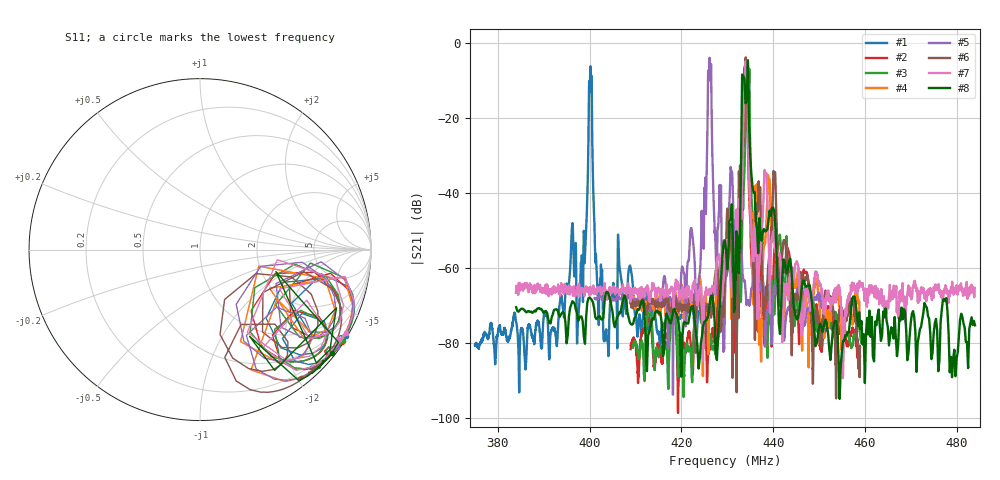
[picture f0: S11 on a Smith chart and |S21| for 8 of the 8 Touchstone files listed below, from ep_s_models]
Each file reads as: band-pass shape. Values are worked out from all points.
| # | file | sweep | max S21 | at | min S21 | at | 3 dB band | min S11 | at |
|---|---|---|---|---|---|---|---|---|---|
| 1 | B3742_WB.s2p | 375 MHz to 425 MHz | -6.18 dB | 400.2 MHz | -93.2 dB | 384.6 MHz | 400.1 MHz-400.2 MHz | -5.6 dB | 400.2 MHz |
| 2 | B3743_WB.s2p | 408.9 MHz to 458.9 MHz | -5.03 dB | 434 MHz | -98.7 dB | 419.3 MHz | 433.9 MHz-434 MHz | -6.7 dB | 434 MHz |
| 3 | B3748_WB.s2p | 409.4 MHz to 459.4 MHz | -4.53 dB | 434.5 MHz | -94.5 dB | 420.5 MHz | 434.4 MHz-434.5 MHz | -8.2 dB | 434.5 MHz |
| 4 | B3760_WB_UN.s2p | 408.9 MHz to 458.9 MHz | -3.76 dB | 434 MHz | -88.8 dB | 424.7 MHz | 433.9 MHz-434 MHz | -8.9 dB | 434 MHz |
| 5 | B3770_WB.s2p | 401.1 MHz to 451.1 MHz | -3.90 dB | 426.1 MHz | -93.8 dB | 418.1 MHz | 426.1 MHz-426.2 MHz | -8.7 dB | 426.1 MHz |
| 6 | B3774_WB.s2p | 408.9 MHz to 458.9 MHz | -3.90 dB | 434 MHz | -94.8 dB | 453.7 MHz | 433.9 MHz-434.1 MHz | -9.8 dB | 434 MHz |
| 7 | B3780_WB.s2p | 383.9 MHz to 483.9 MHz | -4.91 dB | 434 MHz | -89.5 dB | 455.2 MHz | 433.9 MHz-434 MHz | -6.8 dB | 434 MHz |
| 8 | B3782_WB.s2p | 384 MHz to 484 MHz | -4.69 dB | 434.5 MHz | -95.0 dB | 454.5 MHz | 434.5 MHz-434.5 MHz | -6.7 dB | 434.5 MHz |
